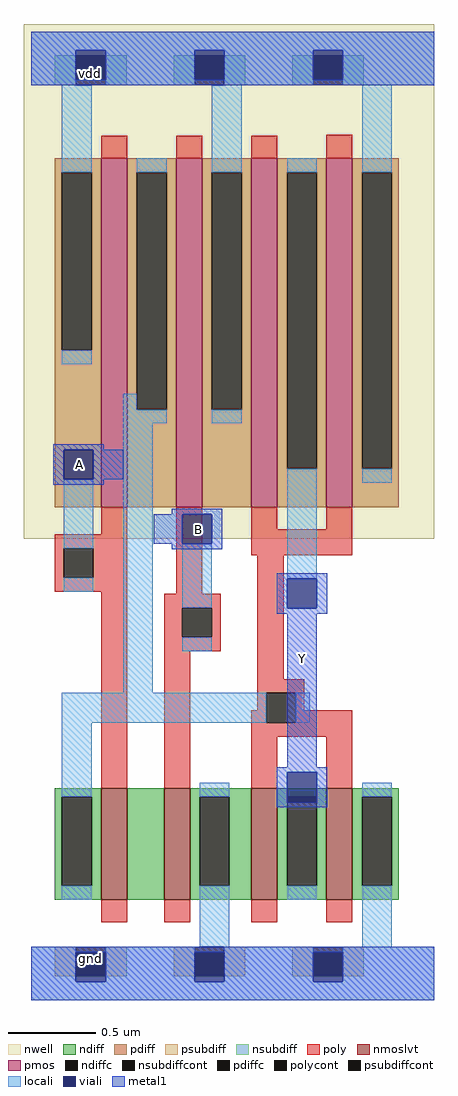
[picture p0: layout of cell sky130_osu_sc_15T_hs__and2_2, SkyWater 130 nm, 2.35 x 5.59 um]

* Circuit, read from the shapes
.subckt sky130_osu_sc_15T_hs__and2_2 B A Y
XM1 n1 A n2 gnd sky130_fd_pr__nfet_01v8_lvt w=0.64 l=0.15
XM2 gnd B n1 gnd sky130_fd_pr__nfet_01v8_lvt w=0.64 l=0.15
XM3 Y n2 gnd gnd sky130_fd_pr__nfet_01v8_lvt w=0.64 l=0.15 m=2
XM4 n2 A vdd vdd sky130_fd_pr__pfet_01v8 w=2 l=0.15
XM5 vdd B n2 vdd sky130_fd_pr__pfet_01v8 w=2 l=0.15
XM6 Y n2 vdd vdd sky130_fd_pr__pfet_01v8 w=2 l=0.15 m=2
.ends

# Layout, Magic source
magic
tech sky130A
magscale 1 2
<< nwell >>
rect -9 529 462 1119
<< nmoslvt >>
rect 80 115 110 243
rect 152 115 182 243
rect 252 115 282 243
rect 338 115 368 243
<< pmos >>
rect 80 565 110 965
rect 166 565 196 965
rect 252 565 282 965
rect 338 565 368 965
<< ndiff >>
rect 27 233 80 243
rect 27 131 35 233
rect 69 131 80 233
rect 27 115 80 131
rect 110 115 152 243
rect 182 233 252 243
rect 182 131 193 233
rect 227 131 252 233
rect 182 115 252 131
rect 282 233 338 243
rect 282 131 293 233
rect 327 131 338 233
rect 282 115 338 131
rect 368 233 421 243
rect 368 131 379 233
rect 413 131 421 233
rect 368 115 421 131
<< pdiff >>
rect 27 949 80 965
rect 27 745 35 949
rect 69 745 80 949
rect 27 565 80 745
rect 110 949 166 965
rect 110 677 121 949
rect 155 677 166 949
rect 110 565 166 677
rect 196 949 252 965
rect 196 677 207 949
rect 241 677 252 949
rect 196 565 252 677
rect 282 949 338 965
rect 282 609 293 949
rect 327 609 338 949
rect 282 565 338 609
rect 368 949 421 965
rect 368 609 379 949
rect 413 609 421 949
rect 368 565 421 609
<< ndiffc >>
rect 35 131 69 233
rect 193 131 227 233
rect 293 131 327 233
rect 379 131 413 233
<< pdiffc >>
rect 35 745 69 949
rect 121 677 155 949
rect 207 677 241 949
rect 293 609 327 949
rect 379 609 413 949
<< psubdiff >>
rect 27 27 51 61
rect 85 27 109 61
rect 163 27 187 61
rect 221 27 245 61
rect 299 27 323 61
rect 357 27 381 61
<< nsubdiff >>
rect 27 1049 51 1083
rect 85 1049 109 1083
rect 163 1049 187 1083
rect 221 1049 245 1083
rect 299 1049 323 1083
rect 357 1049 381 1083
<< psubdiffcont >>
rect 51 27 85 61
rect 187 27 221 61
rect 323 27 357 61
<< nsubdiffcont >>
rect 51 1049 85 1083
rect 187 1049 221 1083
rect 323 1049 357 1083
<< poly >>
rect 80 965 110 991
rect 166 965 196 991
rect 252 965 282 991
rect 338 965 368 992
rect 80 534 110 565
rect 27 518 110 534
rect 27 484 37 518
rect 71 484 110 518
rect 27 468 110 484
rect 80 243 110 468
rect 166 466 196 565
rect 252 540 282 565
rect 338 540 368 565
rect 252 510 368 540
rect 152 450 217 466
rect 152 416 173 450
rect 207 416 217 450
rect 152 400 217 416
rect 152 243 182 400
rect 259 368 289 510
rect 259 352 313 368
rect 259 332 269 352
rect 252 318 269 332
rect 303 332 313 352
rect 303 318 368 332
rect 252 302 368 318
rect 252 243 282 302
rect 338 243 368 302
rect 80 89 110 115
rect 152 89 182 115
rect 252 89 282 115
rect 338 89 368 115
<< polycont >>
rect 37 484 71 518
rect 173 416 207 450
rect 269 318 303 352
<< locali >>
rect 0 1089 462 1110
rect 0 1049 51 1089
rect 85 1049 187 1089
rect 221 1049 323 1089
rect 357 1049 462 1089
rect 35 949 69 1049
rect 35 729 69 745
rect 121 949 155 965
rect 105 677 121 695
rect 105 661 155 677
rect 207 949 241 1049
rect 207 661 241 677
rect 293 949 327 965
rect 37 518 71 597
rect 37 468 71 484
rect 105 352 139 661
rect 173 450 207 523
rect 293 483 327 609
rect 379 949 413 1049
rect 379 593 413 609
rect 173 400 207 416
rect 35 318 269 352
rect 303 318 319 352
rect 35 233 69 318
rect 35 115 69 131
rect 193 233 227 249
rect 193 61 227 131
rect 293 115 327 131
rect 379 233 413 249
rect 379 61 413 131
rect 0 21 51 61
rect 85 21 187 61
rect 221 21 323 61
rect 357 21 462 61
rect 0 0 462 21
<< viali >>
rect 51 1083 85 1089
rect 51 1055 85 1083
rect 187 1083 221 1089
rect 187 1055 221 1083
rect 323 1083 357 1089
rect 323 1055 357 1083
rect 37 597 71 631
rect 173 523 207 557
rect 293 449 327 483
rect 293 233 327 261
rect 293 227 327 233
rect 51 27 85 55
rect 51 21 85 27
rect 187 27 221 55
rect 187 21 221 27
rect 323 27 357 55
rect 323 21 357 27
<< metal1 >>
rect 0 1089 462 1110
rect 0 1055 51 1089
rect 85 1055 187 1089
rect 221 1055 323 1089
rect 357 1055 462 1089
rect 0 1049 462 1055
rect 25 631 83 637
rect 25 597 37 631
rect 71 597 105 631
rect 25 591 83 597
rect 161 557 219 563
rect 140 523 173 557
rect 207 523 219 557
rect 161 517 219 523
rect 281 483 339 489
rect 281 449 293 483
rect 327 449 339 483
rect 281 443 339 449
rect 293 267 327 443
rect 281 261 339 267
rect 281 227 293 261
rect 327 227 339 261
rect 281 221 339 227
rect 0 55 462 61
rect 0 21 51 55
rect 85 21 187 55
rect 221 21 323 55
rect 357 21 462 55
rect 0 0 462 21
<< labels >>
rlabel viali 191 540 191 540 1 B
port 1 n
rlabel viali 55 614 55 614 1 A
port 2 n
rlabel metal1 311 392 311 392 1 Y
port 3 n
rlabel viali 68 48 68 48 1 gnd
rlabel viali 68 1062 68 1062 1 vdd
<< end >>
